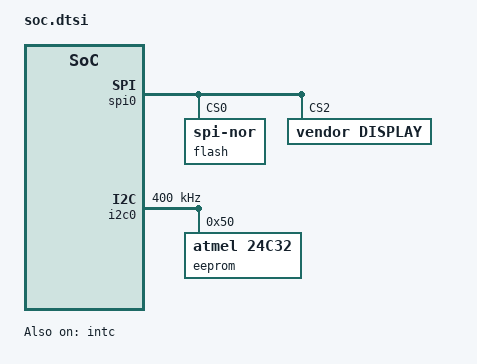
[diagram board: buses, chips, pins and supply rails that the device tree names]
// SoC fragment shared by several boards.
#include <dt-bindings/gpio/gpio.h>

#define SOC_BASE 0x10000000

/ {
	soc: soc@10000000 {
		#address-cells = <1>;
		#size-cells = <1>;
		compatible = "simple-bus";

		intc: interrupt-controller@10140000 {
			compatible = "arm,pl190";
			interrupt-controller;
			#interrupt-cells = <1>;
		};

		spi0: spi@10170000 {
			compatible = "arm,pl022";
			reg = <0x10170000 0x1000>;

			flash@0 {
				compatible = "jedec,spi-nor";
				reg = <0>;
			};

			touch@1 {
				compatible = "vendor,touch-1";
				reg = <1>;
				interrupt-parent = <&intc>;
			};
		};

		i2c0: a: i2c@10180000 {
			clock-frequency = <400000>;

			eeprom@50 {
				compatible = "atmel,24c32";
				reg = <0x50>;
			};
		};

		timer@101e3000 {
			compatible = "arm,sp804";
			reg = <0x101e3000 0x1000>;
		};
	};
};

&intc {
	status = "okay";
};

&spi0 {
	/delete-node/ touch@1;
	display@2 {
		compatible = "vendor,display";
		reg = <2>;
	};
};
